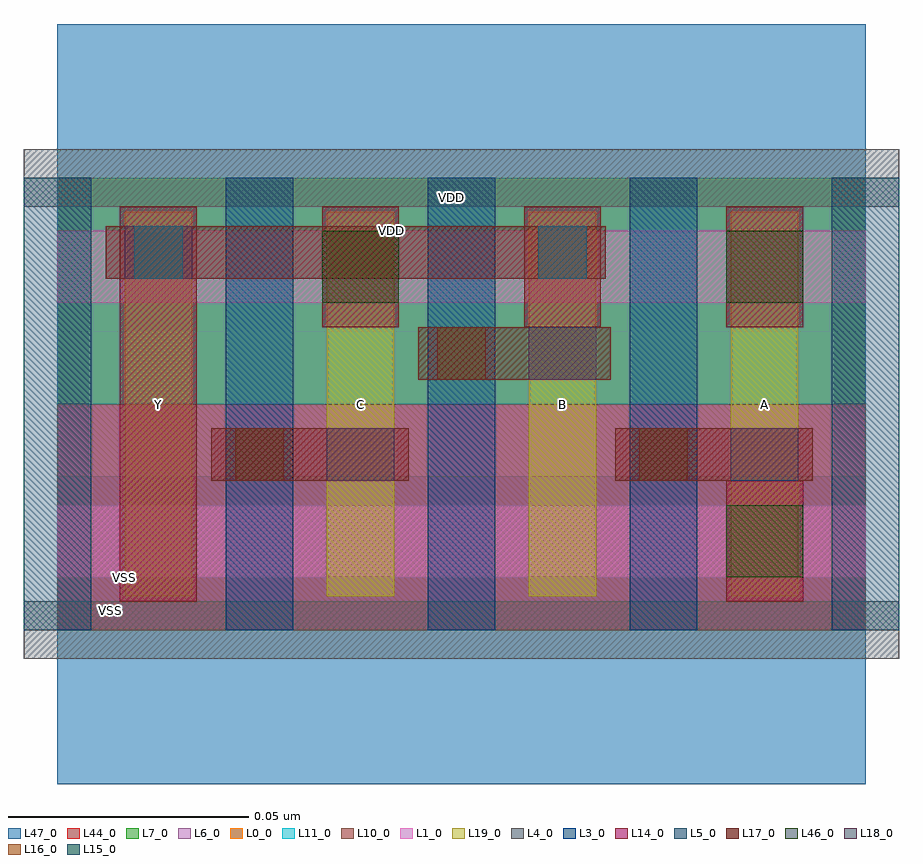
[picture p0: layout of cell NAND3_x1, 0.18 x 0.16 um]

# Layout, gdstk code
import gdstk
lib = gdstk.Library(unit=1e-6, precision=5e-10)
def R(c, l, rs):  # rectangles x0, y0, x1, y1
    for r in rs: c.add(gdstk.rectangle(r[:2], r[2:], *l))
def A(c, l, x, y, w, h, nx, ny, dx, dy):  # array of equal rectangles
    R(c, l, [(x+i*dx, y+j*dy, x+i*dx+w, y+j*dy+h) for i in range(nx) for j in range(ny)])
L0_0 = (0, 0)
L1_0 = (1, 0)
L3_0 = (3, 0)
L4_0 = (4, 0)
L5_0 = (5, 0)
L6_0 = (6, 0)
L7_0 = (7, 0)
L10_0 = (10, 0)
L11_0 = (11, 0)
L14_0 = (14, 0)
L15_0 = (15, 0)
L16_0 = (16, 0)
L17_0 = (17, 0)
L18_0 = (18, 0)
L19_0 = (19, 0)
L44_0 = (44, 0)
L46_0 = (46, 0)
L47_0 = (47, 0)

nand3_x1 = lib.new_cell('NAND3_x1')
R(nand3_x1, L0_0, [(0,0.047,0.168,0.094)])
R(nand3_x1, L1_0, [(0,0.011,0.168,0.026), (0,0.068,0.168,0.083)])
A(nand3_x1, L3_0, 0.035, 0, 0.014, 0.094, 3, 1, 0.042, 0)
R(nand3_x1, L4_0, [(-0.007,-0.006,0.175,0.006), (-0.007,0.088,0.175,0.1)])
R(nand3_x1, L5_0, [(-0.007,0,0.007,0.094), (0.161,0,0.175,0.094)])
R(nand3_x1, L6_0, [(0,0,0.168,0.047)])
R(nand3_x1, L7_0, [(0,0.047,0.168,0.094)])
R(nand3_x1, L10_0, [(0,0,0.168,0.047)])
R(nand3_x1, L11_0, [(0,0.047,0.168,0.094)])
A(nand3_x1, L14_0, 0.055, 0.063, 0.016, 0.025, 3, 1, 0.042, 0)
R(nand3_x1, L14_0, [(0.013,0.006,0.029,0.088), (0.139,0.006,0.155,0.031)])
R(nand3_x1, L15_0, [(0.016,0.073,0.026,0.084), (0.1,0.073,0.11,0.084)])
R(nand3_x1, L16_0, [(0.037,0.031,0.047,0.042), (0.121,0.031,0.131,0.042), (0.079,0.052,0.089,0.063)])
R(nand3_x1, L17_0, [(0.032,0.031,0.073,0.042), (0.116,0.031,0.157,0.042), (0.075,0.052,0.115,0.063), (0.01,0.073,0.114,0.084)])
R(nand3_x1, L18_0, [(0.056,0.031,0.07,0.042), (0.14,0.031,0.154,0.042), (0.098,0.052,0.112,0.063), (0.014,0.073,0.028,0.084)])
A(nand3_x1, L19_0, 0.014, 0.007, 0.014, 0.08, 4, 1, 0.042, 0)
R(nand3_x1, L44_0, [(0,0,0.168,0.094)])
R(nand3_x1, L46_0, [(0.139,0.011,0.155,0.026), (0.055,0.068,0.071,0.083), (0.139,0.068,0.155,0.083)])
R(nand3_x1, L47_0, [(0,-0.032,0.168,0.032), (0,0.062,0.168,0.126)])
nand3_x1.add(gdstk.Label('Y', (0.021,0.047), layer=19, texttype=2))
nand3_x1.add(gdstk.Label('A', (0.147,0.047), layer=19, texttype=2))
nand3_x1.add(gdstk.Label('B', (0.105,0.047), layer=19, texttype=2))
nand3_x1.add(gdstk.Label('C', (0.063,0.047), layer=19, texttype=2))
nand3_x1.add(gdstk.Label('VSS', (0.011,0.004), layer=54, texttype=2))
nand3_x1.add(gdstk.Label('VDD', (0.082,0.09), layer=0, texttype=2))
nand3_x1.add(gdstk.Label('VSS', (0.014,0.011), layer=47, texttype=2))
nand3_x1.add(gdstk.Label('VDD', (0.0695,0.083), layer=47, texttype=2))

lib.write_gds('NAND3_x1.gds')
